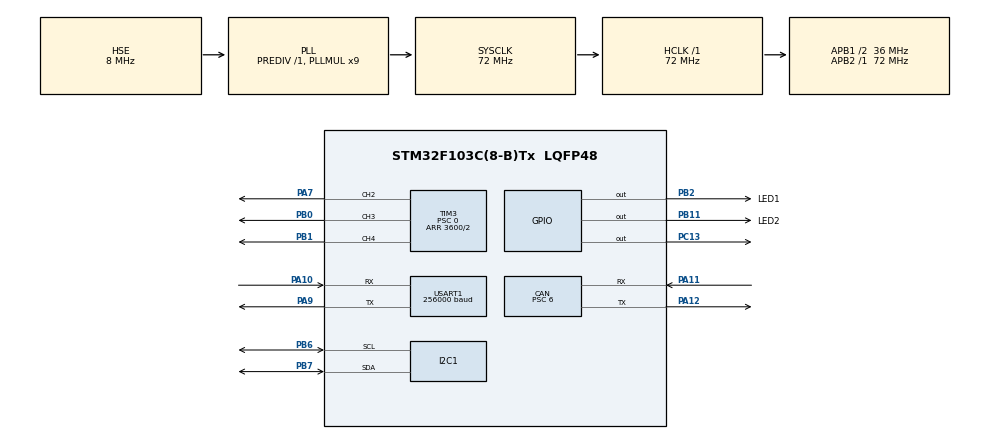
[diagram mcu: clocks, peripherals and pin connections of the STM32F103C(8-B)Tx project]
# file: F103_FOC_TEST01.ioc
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CAN.BS1=CAN_BS1_2TQ
CAN.BS2=CAN_BS2_3TQ
CAN.CalculateBaudRate=999999
CAN.CalculateTimeBit=1000
CAN.CalculateTimeQuantum=166.66666666666669
CAN.NART=ENABLE
CAN.Prescaler=6
Dma.Request0=USART1_RX
Dma.USART1_RX.0.Direction=DMA_PERIPH_TO_MEMORY
Dma.USART1_RX.0.Instance=DMA1_Channel5
Dma.USART1_RX.0.MemDataAlignment=DMA_MDATAALIGN_BYTE
Dma.USART1_RX.0.MemInc=DMA_MINC_ENABLE
Dma.USART1_RX.0.Mode=DMA_NORMAL
Dma.USART1_RX.0.PeriphDataAlignment=DMA_PDATAALIGN_BYTE
Dma.USART1_RX.0.PeriphInc=DMA_PINC_DISABLE
Dma.USART1_RX.0.Priority=DMA_PRIORITY_LOW
I2C1.I2C_Mode=I2C_Fast
Mcu.Family=STM32F1
Mcu.Name=STM32F103C(8-B)Tx
Mcu.Package=LQFP48
NVIC.DMA1_Channel5_IRQn=true\:0\:0\:false\:false\:true\:false\:true\:true
NVIC.PriorityGroup=NVIC_PRIORITYGROUP_4
NVIC.TIM2_IRQn=true\:2\:0\:true\:false\:true\:true\:true\:true
NVIC.TIM4_IRQn=true\:1\:0\:true\:false\:true\:true\:true\:true
NVIC.USART1_IRQn=true\:0\:0\:false\:false\:true\:true\:true\:true
NVIC.USB_LP_CAN1_RX0_IRQn=true\:0\:0\:false\:false\:true\:true\:true\:true
PA10.Mode=Asynchronous
PA10.Signal=USART1_RX
PA11.Mode=CAN_Activate
PA11.Signal=CAN_RX
PA12.Mode=CAN_Activate
PA12.Signal=CAN_TX
PA13.Mode=Serial_Wire
PA13.Signal=SYS_JTMS-SWDIO
PA14.Mode=Serial_Wire
PA14.Signal=SYS_JTCK-SWCLK
PA7.GPIO_Speed=GPIO_SPEED_FREQ_HIGH
PA7.Signal=S_TIM3_CH2
PA9.Mode=Asynchronous
PA9.Signal=USART1_TX
PB0.GPIO_Speed=GPIO_SPEED_FREQ_HIGH
PB0.Signal=S_TIM3_CH3
PB1.GPIO_Speed=GPIO_SPEED_FREQ_HIGH
PB1.Signal=S_TIM3_CH4
PB11.GPIO_Label=LED2
PB11.PinState=GPIO_PIN_SET
PB11.Signal=GPIO_Output
PB2.GPIO_Label=LED1
PB2.PinState=GPIO_PIN_SET
PB2.Signal=GPIO_Output
PB6.Mode=I2C
PB6.Signal=I2C1_SCL
PB7.Mode=I2C
PB7.Signal=I2C1_SDA
PC13-TAMPER-RTC.Signal=GPIO_Output
PD0-OSC_IN.Mode=HSE-External-Oscillator
PD0-OSC_IN.Signal=RCC_OSC_IN
PD1-OSC_OUT.Mode=HSE-External-Oscillator
PD1-OSC_OUT.Signal=RCC_OSC_OUT
ProjectManager.HeapSize=0x200
ProjectManager.StackSize=0x400
ProjectManager.TargetToolchain=MDK-ARM V5.32
RCC.AHBFreq_Value=72000000
RCC.APB1CLKDivider=RCC_HCLK_DIV2
RCC.APB1Freq_Value=36000000
RCC.APB1TimFreq_Value=72000000
RCC.APB2Freq_Value=72000000
RCC.APB2TimFreq_Value=72000000
RCC.HCLKFreq_Value=72000000
RCC.PLLMUL=RCC_PLL_MUL9
RCC.PLLSourceVirtual=RCC_PLLSOURCE_HSE
RCC.SYSCLKFreq_VALUE=72000000
RCC.SYSCLKSource=RCC_SYSCLKSOURCE_PLLCLK
RCC.USBFreq_Value=72000000
SH.S_TIM3_CH2.0=TIM3_CH2,PWM Generation2 CH2
SH.S_TIM3_CH3.0=TIM3_CH3,PWM Generation3 CH3
SH.S_TIM3_CH4.0=TIM3_CH4,PWM Generation4 CH4
TIM2.AutoReloadPreload=TIM_AUTORELOAD_PRELOAD_ENABLE
TIM2.Period=1000-1
TIM2.Prescaler=7200-1
TIM3.AutoReloadPreload=TIM_AUTORELOAD_PRELOAD_ENABLE
TIM3.Channel-PWM\ Generation2\ CH2=TIM_CHANNEL_2
TIM3.Channel-PWM\ Generation3\ CH3=TIM_CHANNEL_3
TIM3.Channel-PWM\ Generation4\ CH4=TIM_CHANNEL_4
TIM3.CounterMode=TIM_COUNTERMODE_CENTERALIGNED1
TIM3.OCMode_PWM-PWM\ Generation2\ CH2=TIM_OCMODE_PWM1
TIM3.OCMode_PWM-PWM\ Generation3\ CH3=TIM_OCMODE_PWM1
TIM3.OCMode_PWM-PWM\ Generation4\ CH4=TIM_OCMODE_PWM1
TIM3.Period=3600/2
TIM3.Prescaler=0
TIM3.Pulse-PWM\ Generation2\ CH2=1800
TIM3.Pulse-PWM\ Generation3\ CH3=1800
TIM3.Pulse-PWM\ Generation4\ CH4=1800
TIM3.TIM_MasterOutputTrigger=TIM_TRGO_RESET
TIM4.AutoReloadPreload=TIM_AUTORELOAD_PRELOAD_ENABLE
TIM4.Period=500
TIM4.Prescaler=72-1
USART1.BaudRate=256000
USART1.VirtualMode=VM_ASYNC
VP_TIM2_VS_ClockSourceINT.Mode=Internal
VP_TIM3_VS_ClockSourceINT.Mode=Internal
VP_TIM4_VS_ClockSourceINT.Mode=Internal
board=custom

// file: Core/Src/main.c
/* USER CODE BEGIN Header */
/**
 ******************************************************************************
 * @file           : main.c
 * @brief          : Main program body
 ******************************************************************************
 * @attention
 *
 * <h2><center>&copy; Copyright (c) 2025 STMicroelectronics.
 * All rights reserved.</center></h2>
 *
 * This software component is licensed by ST under BSD 3-Clause license,
 * the "License"; You may not use this file except in compliance with the
 * License. You may obtain a copy of the License at:
 *                        opensource.org/licenses/BSD-3-Clause
 *
 ******************************************************************************
 */
/* USER CODE END Header */
#include "main.h"
#include "can.h"
#include "dma.h"
#include "i2c.h"
#include "tim.h"
#include "usart.h"
#include "gpio.h"

/* USER CODE BEGIN Includes */

#include "AS5600.h"
#include <dwt_delay.h>
#include <stdio.h>
#include "pid.h"
#include "FOC.h"
#include "MyCan.h"
#include "eeprom.h"

/* USER CODE END Includes */

/* USER CODE BEGIN PV */

FOC motor_foc = {0};
Tim motor_tim = {0};
Sensor motor_sensor = {0};
PID_Controller motor_position_pid = {0};
PID_Controller motor_velocity_pid = {0};
PID_Controller motor_imu_pid = {0};

uint8_t TIM4_flag = 0;
uint16_t TIM4_fre = 0;

uint8_t TIM2_flag = 0;
uint16_t TIM2_fre = 0;

uint16_t sys_fre = 0;
uint32_t fre = 0;

/* USER CODE END PV */

void SystemClock_Config(void);

int main(void)
{

  /* MCU Configuration--------------------------------------------------------*/

  /* Reset of all peripherals, Initializes the Flash interface and the Systick. */
  HAL_Init();

  /* Configure the system clock */
  SystemClock_Config();

  /* Initialize all configured peripherals */
  MX_GPIO_Init();
  MX_DMA_Init();
  MX_I2C1_Init();
  MX_TIM3_Init();
  MX_USART1_UART_Init();
  MX_TIM4_Init();
  MX_TIM2_Init();
  MX_CAN_Init();
  /* USER CODE BEGIN 2 */
  motor_foc.voltage_power_supply = 12.0f;
  motor_foc.voltage_limit = 12.0f;
  motor_foc.voltage_sensor_align = 3.0f;
  motor_foc.pole_pairs = 7;
  motor_foc.dir = 1;
  motor_foc.target_velocity = 200.0f;
  motor_foc.Uq = 0.0f;
  motor_foc.control_target = 3;
  motor_foc.zero_electric_angle = 0.0f;
  motor_foc.imu_data = 0.0f;

  motor_tim.port = htim3;
  motor_tim.channelA = TIM_CHANNEL_2;
  motor_tim.channelB = TIM_CHANNEL_3;
  motor_tim.channelC = TIM_CHANNEL_4;

  motor_imu_pid.Kp = 10.0f;
  motor_imu_pid.Ki = 0.0f;
  motor_imu_pid.Kd = 1.0f;
  motor_imu_pid.direction = -1;
  motor_imu_pid.setpoint = 0.0f;

  motor_position_pid.Kp = 3.0f;
  motor_position_pid.Ki = 0.0f;
  motor_position_pid.Kd = 0.0f;
  motor_position_pid.direction = 1;
  motor_position_pid.setpoint = 0.0f;

  motor_foc.velocity_pid.Kp = 0.2f;
  motor_foc.velocity_pid.Ki = 0.01f;
  motor_foc.velocity_pid.Kd = 0.0f;
  motor_foc.velocity_pid.direction = -1;
  motor_foc.velocity_pid.setpoint = 15.0f;

  Motor_LinkPositionPID(&motor_foc, &motor_position_pid);
  Motor_LinkImuPID(&motor_foc, &motor_imu_pid);
  Motor_LinkSensor(&motor_foc, &motor_sensor);
  Motor_LinkTim(&motor_foc, &motor_tim);

  DWT_Timer_Init();
  MyCan_Init();
  fittered_init();

  /* 读取已存零电角度：若有效且非 0 则直接复用，反之待校准后写回 */
  EEPROM_Init();
  float stored_zero_angle = 0.0f;
  if (EEPROM_IsValid() && EEPROM_GetStoredLength() == sizeof(stored_zero_angle))
  {
    if (EEPROM_Read(&stored_zero_angle, sizeof(stored_zero_angle)) != HAL_OK)
    {
      stored_zero_angle = 0.0f;
      HAL_GPIO_TogglePin(GPIOB, GPIO_PIN_2); // 错误指示灯常亮
      HAL_Delay(300);
      HAL_GPIO_TogglePin(GPIOB, GPIO_PIN_2); // 错误指示灯常亮
      HAL_Delay(300);
      HAL_GPIO_TogglePin(GPIOB, GPIO_PIN_2); // 错误指示灯常亮
      HAL_Delay(300);
      HAL_GPIO_TogglePin(GPIOB, GPIO_PIN_2); // 错误指示灯常亮
      HAL_Delay(300);
      HAL_GPIO_TogglePin(GPIOB, GPIO_PIN_2); // 错误指示灯常亮
      HAL_Delay(300);
      HAL_GPIO_TogglePin(GPIOB, GPIO_PIN_2); // 错误指示灯常亮
      HAL_Delay(300);
    }
  }
  motor_foc.zero_electric_angle = stored_zero_angle;

  uint8_t magnet_status = AS5600_checkMagnet();

  while (magnet_status == 0xFF)
  {
    magnet_status = AS5600_checkMagnet();
    HAL_GPIO_WritePin(GPIOB, GPIO_PIN_2, GPIO_PIN_RESET); // 常亮
  }

  if (magnet_status == 0xFF)
  {
    HAL_GPIO_WritePin(GPIOB, GPIO_PIN_2, GPIO_PIN_RESET); // 常亮
  }
  else
  {
    HAL_GPIO_WritePin(GPIOB, GPIO_PIN_2, GPIO_PIN_SET); // 关闭
  }

  HAL_GPIO_WritePin(GPIOB, GPIO_PIN_11, GPIO_PIN_RESET); // LED ON

  while (getCanRunFlag() == 0)
  {
    MyCan_ProcessReceivedMessage();
  }

  HAL_GPIO_WritePin(GPIOB, GPIO_PIN_11, GPIO_PIN_SET); // LED OFF
  float prev_zero_angle = motor_foc.zero_electric_angle;

  foc_Init(&motor_foc);

  /* 若先前为 0 而校准后获得非 0 零电角度，则写入 Flash 保存 */

  if (prev_zero_angle == 0.0f && motor_foc.zero_electric_angle != 0.0f)
  {
    EEPROM_Write(&motor_foc.zero_electric_angle, sizeof(motor_foc.zero_electric_angle));
  }

  HAL_TIM_Base_Start_IT(&htim4); // 启动定时器4中断
  // HAL_TIM_Base_Start_IT(&htim2); // 启动定时器2中断

  /* USER CODE END 2 */

  /* Infinite loop */
  while (1)
  {

    /* USER CODE BEGIN 3 */

    MyCan_ProcessReceivedMessage();
    if (TIM4_flag)
    {
      Pidloop(&motor_foc);
      foc_loop(&motor_foc);
      foc_move(&motor_foc);
      TIM4_flag = 0;
    }
  }
  /* USER CODE END 3 */
}

void SystemClock_Config(void)
{
  RCC_OscInitTypeDef RCC_OscInitStruct = {0};
  RCC_ClkInitTypeDef RCC_ClkInitStruct = {0};

  /** Initializes the RCC Oscillators according to the specified parameters
   * in the RCC_OscInitTypeDef structure.
   */
  RCC_OscInitStruct.OscillatorType = RCC_OSCILLATORTYPE_HSE;
  RCC_OscInitStruct.HSEState = RCC_HSE_ON;
  RCC_OscInitStruct.HSEPredivValue = RCC_HSE_PREDIV_DIV1;
  RCC_OscInitStruct.HSIState = RCC_HSI_ON;
  RCC_OscInitStruct.PLL.PLLState = RCC_PLL_ON;
  RCC_OscInitStruct.PLL.PLLSource = RCC_PLLSOURCE_HSE;
  RCC_OscInitStruct.PLL.PLLMUL = RCC_PLL_MUL9;
  if (HAL_RCC_OscConfig(&RCC_OscInitStruct) != HAL_OK)
  {
    Error_Handler();
  }

  /** Initializes the CPU, AHB and APB buses clocks
   */
  RCC_ClkInitStruct.ClockType = RCC_CLOCKTYPE_HCLK | RCC_CLOCKTYPE_SYSCLK | RCC_CLOCKTYPE_PCLK1 | RCC_CLOCKTYPE_PCLK2;
  RCC_ClkInitStruct.SYSCLKSource = RCC_SYSCLKSOURCE_PLLCLK;
  RCC_ClkInitStruct.AHBCLKDivider = RCC_SYSCLK_DIV1;
  RCC_ClkInitStruct.APB1CLKDivider = RCC_HCLK_DIV2;
  RCC_ClkInitStruct.APB2CLKDivider = RCC_HCLK_DIV1;

  if (HAL_RCC_ClockConfig(&RCC_ClkInitStruct, FLASH_LATENCY_2) != HAL_OK)
  {
    Error_Handler();
  }
}

/* USER CODE BEGIN 4 */
int fputc(int ch, FILE *f)
{
  HAL_UART_Transmit(&huart1, (uint8_t *)&ch, 1, 1000);
  return ch;
}

// TIM4中断服务函数
void HAL_TIM_PeriodElapsedCallback(TIM_HandleTypeDef *htim)
{
  if (htim->Instance == TIM4)
  {
    TIM4_flag = 1;
  }
  else if (htim->Instance == TIM2)
  {
    TIM2_flag = 1;
  }
}

/* USER CODE END 4 */

void Error_Handler(void)
{
  __disable_irq();
  while (1)
  {
  }
}
